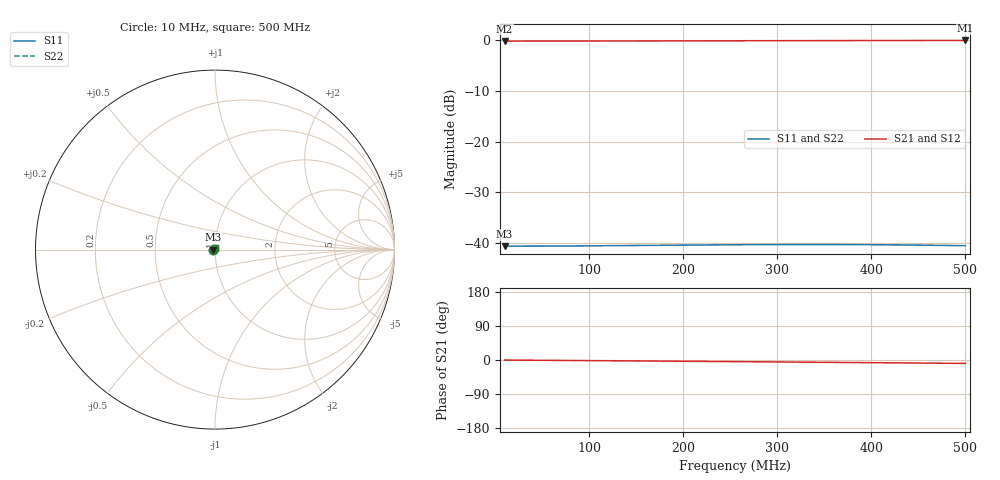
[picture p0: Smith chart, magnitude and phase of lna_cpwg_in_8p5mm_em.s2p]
! Created with skrf 2.1.0 (http://scikit-rf.org).
# Hz S RI R 50.0
!freq ReS11 ImS11 ReS21 ImS21 ReS12 ImS12 ReS22 ImS22
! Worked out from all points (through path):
!   101 points, 10 MHz to 500 MHz, reference 50 ohm
!   highest |S21| = -0.02 dB at 500 MHz (marker M1); lowest = -0.1 dB at 10 MHz (marker M2)
!   group delay of S21, straight-line fit = 50.5 ps
!   lowest |S11| = -40.6 dB at 10 MHz (marker M3), VSWR 1.02, Z = 49.1 + j0.0412 ohm
!   |S11| at or under -10 dB: start of sweep to end of sweep
!   |S22| runs from -40.6 to -40.3 dB; largest |S21 - S12| = 4.5e-16
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1e7  -0.00929 0.00042  0.9838 -0.00273  0.9838 -0.00273  -0.00929 0.00042
2.96e7  -0.00922 0.00124  0.9839 -0.00809  0.9839 -0.00809  -0.00922 0.00124
4.92e7  -0.00909 0.00204  0.9841 -0.0135  0.9841 -0.0135  -0.00909 0.00204
6.88e7  -0.0089 0.00282  0.9843 -0.0189  0.9843 -0.0189  -0.0089 0.00282
9.33e7  -0.00858 0.00375  0.9847 -0.0258  0.9847 -0.0258  -0.00858 0.00375
1.129e8  -0.00827 0.00445  0.9851 -0.0313  0.9851 -0.0313  -0.00827 0.00445
1.374e8  -0.00782 0.00527  0.9856 -0.0384  0.9856 -0.0384  -0.00782 0.00527
1.766e8  -0.00701 0.0064  0.9865 -0.05  0.9865 -0.05  -0.00701 0.0064
2.207e8  -0.00601 0.00743  0.9874 -0.0635  0.9874 -0.0635  -0.00601 0.00743
2.55e8  -0.00522 0.00805  0.988 -0.0743  0.988 -0.0743  -0.00522 0.00805
2.795e8  -0.00467 0.00841  0.9884 -0.0822  0.9884 -0.0822  -0.00467 0.00841
2.991e8  -0.00425 0.00865  0.9886 -0.0886  0.9886 -0.0886  -0.00425 0.00865
3.187e8  -0.00383 0.00885  0.9887 -0.0951  0.9887 -0.0951  -0.00383 0.00885
3.383e8  -0.00344 0.00901  0.9887 -0.1016  0.9887 -0.1016  -0.00344 0.00901
3.628e8  -0.00297 0.00917  0.9886 -0.1098  0.9886 -0.1098  -0.00297 0.00917
3.824e8  -0.00262 0.00926  0.9885 -0.1164  0.9885 -0.1164  -0.00262 0.00926
4.02e8  -0.0023 0.00933  0.9883 -0.123  0.9883 -0.123  -0.0023 0.00933
4.216e8  -0.00199 0.00937  0.9879 -0.1297  0.9879 -0.1297  -0.00199 0.00937
4.412e8  -0.00171 0.00939  0.9875 -0.1364  0.9875 -0.1364  -0.00171 0.00939
4.608e8  -0.00146 0.00939  0.987 -0.1431  0.987 -0.1431  -0.00146 0.00939
4.804e8  -0.00122 0.00937  0.9864 -0.1498  0.9864 -0.1498  -0.00122 0.00937
5e8  -0.00101 0.00934  0.9857 -0.1566  0.9857 -0.1566  -0.00101 0.00934
